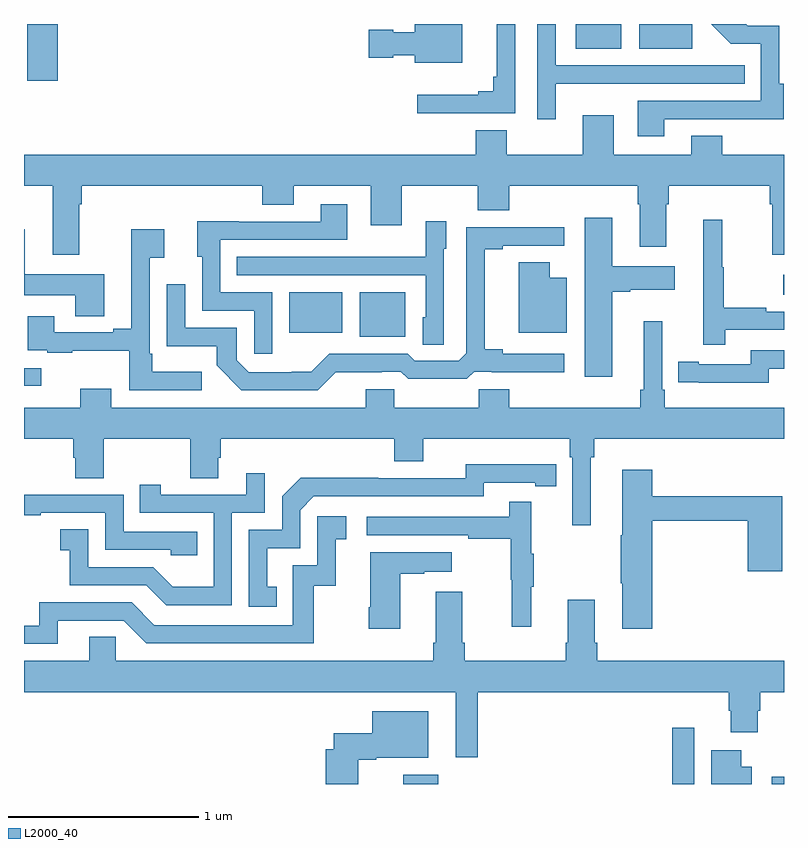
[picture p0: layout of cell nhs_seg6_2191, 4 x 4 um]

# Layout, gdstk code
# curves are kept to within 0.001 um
import gdstk
lib = gdstk.Library(unit=1e-6, precision=1e-09)
def R(c, l, rs):  # rectangles x0, y0, x1, y1
    for r in rs: c.add(gdstk.rectangle(r[:2], r[2:], *l))
def P(c, l, *ps):  # polygons
    for p in ps: c.add(gdstk.Polygon(p, *l))
L2000_40 = (2000, 40)

nhs_seg6_2191 = lib.new_cell('nhs_seg6_2191')
R(nhs_seg6_2191, L2000_40, [(242.995,965.5,243.181,965.548), (244.411,965.5,244.527,965.797), (244.935,965.5,245,965.538), (241,967.595,241.09,967.689), (242.768,967.853,243.007,968.089), (242.396,967.874,242.674,968.089), (244.995,968.075,245,968.179), (241.018,969.201,241.178,969.5), (243.905,969.371,244.144,969.5), (244.238,969.371,244.516,969.5)])
P(nhs_seg6_2191, L2000_40, [(243.799,969.185),(244.133,969.185),(244.133,969.186),(244.793,969.186),(244.793,969.282),(243.798,969.282),(243.798,969.5),(243.702,969.5),(243.702,969),(243.799,969)],
  [(244.369,969),(244.999,968.999),(244.999,969.186),(244.974,969.186),(244.974,969.492),(244.808,969.492),(244.8,969.5),(244.617,969.5),(244.721,969.396),(244.878,969.396),(244.878,969.096),(244.229,969.096),(244.229,968.91),(244.369,968.91)],
  [(243.281,969.03),(243.585,969.03),(243.585,969.5),(243.488,969.5),(243.488,969.223),(243.469,969.223),(243.469,969.146),(243.392,969.146),(243.392,969.127),(243.069,969.127),(243.069,969.029),(243.281,969.029)],
  [(243.307,969.5),(243.056,969.5),(243.056,969.457),(242.943,969.457),(242.943,969.47),(242.814,969.47),(242.814,969.323),(242.943,969.323),(242.943,969.335),(243.056,969.335),(243.056,969.296),(243.307,969.296)],
  [(241,968.648),(241.151,968.648),(241.151,968.286),(241.291,968.286),(241.291,968.552),(241.304,968.552),(241.304,968.648),(242.255,968.648),(242.255,968.549),(242.419,968.549),(242.419,968.648),(242.825,968.648),(242.825,968.442),(242.989,968.442),(242.989,968.648),(243.389,968.648),(243.389,968.52),(243.553,968.52),(243.553,968.648),(244.229,968.648),(244.229,968.552),(244.241,968.552),(244.241,968.328),(244.381,968.328),(244.381,968.552),(244.394,968.552),(244.394,968.648),(244.925,968.648),(244.925,968.552),(244.937,968.552),(244.937,968.286),(245,968.286),(245,968.812),(244.675,968.812),(244.675,968.911),(244.511,968.911),(244.511,968.812),(244.105,968.812),(244.105,969.019),(243.941,969.019),(243.941,968.812),(243.541,968.812),(243.541,968.941),(243.377,968.941),(243.377,968.812),(241,968.812)],
  [(242.307,968.088),(242.034,968.088),(242.034,968.364),(242.701,968.364),(242.701,968.551),(242.561,968.551),(242.561,968.46),(242.131,968.46),(242.131,968.462),(241.913,968.462),(241.913,968.274),(241.938,968.274),(241.938,967.992),(242.211,967.992),(242.211,967.764),(242.307,967.764)],
  [(244.096,968.09),(244.192,968.09),(244.192,968.102),(244.426,968.102),(244.426,968.224),(244.096,968.224),(244.096,968.479),(243.95,968.479),(243.95,967.644),(244.096,967.644)],
  [(244.691,967.89),(245,967.89),(245,967.986),(244.907,967.986),(244.907,968.006),(244.684,968.006),(244.684,968.22),(244.676,968.22),(244.676,968.47),(244.574,968.47),(244.574,967.812),(244.691,967.812)],
  [(243.21,968.316),(243.223,968.316),(243.223,968.461),(243.114,968.461),(243.114,968.275),(242.797,968.275),(242.797,968.274),(242.119,968.274),(242.119,968.178),(243.114,968.178),(243.114,967.956),(243.098,967.956),(243.098,967.813),(243.21,967.813)],
  [(242.642,967.667),(242.882,967.667),(242.882,967.671),(242.982,967.671),(243.022,967.632),(243.329,967.632),(243.369,967.671),(243.463,967.671),(243.463,967.667),(243.844,967.667),(243.844,967.764),(243.52,967.764),(243.52,967.787),(243.425,967.787),(243.425,968.314),(243.52,968.314),(243.52,968.334),(243.844,968.334),(243.844,968.43),(243.327,968.43),(243.327,967.767),(243.288,967.728),(243.057,967.728),(243.021,967.764),(242.607,967.764),(242.513,967.67),(242.408,967.67),(242.408,967.668),(242.184,967.668),(242.121,967.731),(242.121,967.902),(241.848,967.902),(241.848,968.131),(241.752,968.131),(241.752,967.805),(242.014,967.805),(242.014,967.703),(242.144,967.572),(242.547,967.572)],
  [(241.936,967.669),(241.675,967.669),(241.675,967.765),(241.662,967.765),(241.662,968.27),(241.738,968.27),(241.738,968.419),(241.565,968.419),(241.565,967.897),(241.469,967.897),(241.469,967.878),(241.159,967.878),(241.159,967.963),(241.019,967.963),(241.019,967.782),(241.123,967.782),(241.123,967.77),(241.255,967.77),(241.255,967.781),(241.554,967.781),(241.554,967.572),(241.936,967.572)],
  [(241.423,968.182),(241.003,968.182),(241.003,968.419),(241,968.419),(241,968.072),(241.271,968.072),(241.271,967.963),(241.423,967.963)],
  [(243.856,968.164),(243.766,968.164),(243.766,968.245),(243.605,968.245),(243.605,967.874),(243.856,967.874)],
  [(243.982,967.22),(244.001,967.22),(244.001,967.316),(245,967.316),(245,967.48),(244.373,967.48),(244.373,967.576),(244.359,967.576),(244.359,967.936),(244.262,967.936),(244.262,967.576),(244.243,967.576),(244.243,967.48),(243.554,967.48),(243.554,967.578),(243.394,967.578),(243.394,967.48),(242.949,967.48),(242.949,967.578),(242.798,967.578),(242.798,967.48),(241.459,967.48),(241.459,967.579),(241.295,967.579),(241.295,967.48),(241,967.48),(241,967.316),(241.259,967.316),(241.259,967.218),(241.271,967.218),(241.271,967.108),(241.419,967.108),(241.419,967.316),(241.876,967.316),(241.876,967.108),(242.023,967.108),(242.023,967.218),(242.036,967.218),(242.036,967.316),(242.948,967.316),(242.948,967.199),(243.1,967.199),(243.1,967.316),(243.872,967.316),(243.872,967.22),(243.885,967.22),(243.885,966.861),(243.982,966.861)],
  [(244.92,967.686),(245,967.686),(245,967.782),(244.824,967.782),(244.824,967.71),(244.552,967.71),(244.552,967.723),(244.444,967.723),(244.444,967.614),(244.552,967.614),(244.552,967.613),(244.92,967.613)],
  [(242.33,966.537),(242.281,966.537),(242.281,966.741),(242.454,966.741),(242.454,966.942),(242.526,967.014),(243.42,967.014),(243.42,967.086),(243.692,967.086),(243.692,967.066),(243.8,967.066),(243.8,967.182),(243.324,967.183),(243.324,967.11),(242.864,967.11),(242.864,967.112),(242.456,967.112),(242.358,967.014),(242.358,966.837),(242.184,966.837),(242.184,966.432),(242.33,966.432)],
  [(244.307,966.886),(244.808,966.886),(244.808,966.621),(244.991,966.621),(244.991,967.015),(244.307,967.015),(244.307,967.153),(244.148,967.153),(244.148,966.809),(244.141,966.809),(244.141,966.556),(244.148,966.556),(244.148,966.318),(244.307,966.318)],
  [(242.094,966.927),(242.268,966.927),(242.268,967.135),(242.171,967.135),(242.171,967.023),(241.72,967.023),(241.72,967.075),(241.609,967.075),(241.609,966.927),(241.998,966.927),(241.998,966.538),(241.784,966.538),(241.68,966.642),(241.338,966.642),(241.338,966.841),(241.191,966.841),(241.191,966.731),(241.24,966.731),(241.24,966.546),(241.643,966.546),(241.748,966.441),(242.094,966.441)],
  [(241.913,966.828),(241.524,966.828),(241.524,967.023),(241,967.023),(241,966.915),(241.087,966.915),(241.087,966.927),(241.428,966.927),(241.428,966.732),(241.773,966.732),(241.773,966.705),(241.913,966.705)],
  [(243.671,966.539),(243.682,966.539),(243.682,966.713),(243.671,966.713),(243.671,966.985),(243.553,966.985),(243.553,966.906),(242.805,966.906),(242.805,966.81),(243.337,966.81),(243.337,966.79),(243.561,966.79),(243.561,966.576),(243.568,966.576),(243.568,966.327),(243.671,966.327)],
  [(241.177,966.36),(241.524,966.36),(241.644,966.24),(242.524,966.24),(242.524,966.543),(242.642,966.543),(242.642,966.789),(242.695,966.789),(242.695,966.91),(242.544,966.91),(242.544,966.651),(242.415,966.651),(242.415,966.336),(241.686,966.336),(241.566,966.456),(241.08,966.456),(241.08,966.333),(241,966.333),(241,966.237),(241.177,966.237)],
  [(242.98,966.607),(243.107,966.607),(243.107,966.617),(243.25,966.617),(243.25,966.721),(242.822,966.721),(242.822,966.43),(242.815,966.43),(242.815,966.318),(242.98,966.318)],
  [(243.389,965.984),(244.709,965.984),(244.709,965.886),(244.721,965.886),(244.721,965.772),(244.861,965.772),(244.861,965.886),(244.874,965.886),(244.874,965.984),(245,965.984),(245,966.148),(244.016,966.148),(244.016,966.244),(244.003,966.244),(244.003,966.469),(243.863,966.469),(243.863,966.244),(243.851,966.244),(243.851,966.148),(243.32,966.148),(243.32,966.244),(243.307,966.244),(243.307,966.511),(243.167,966.511),(243.167,966.244),(243.155,966.244),(243.155,966.148),(241.482,966.148),(241.482,966.275),(241.343,966.275),(241.343,966.148),(241,966.148),(241,965.984),(243.272,965.984),(243.272,965.64),(243.389,965.64)],
  [(242.758,965.627),(242.854,965.627),(242.854,965.639),(243.127,965.639),(243.127,965.884),(242.834,965.884),(242.834,965.767),(242.63,965.767),(242.63,965.683),(242.588,965.683),(242.588,965.5),(242.758,965.5)],
  [(244.831,965.59),(244.774,965.59),(244.774,965.677),(244.616,965.677),(244.616,965.5),(244.831,965.5)])

lib.write_gds('nhs_seg6_2191.gds')
